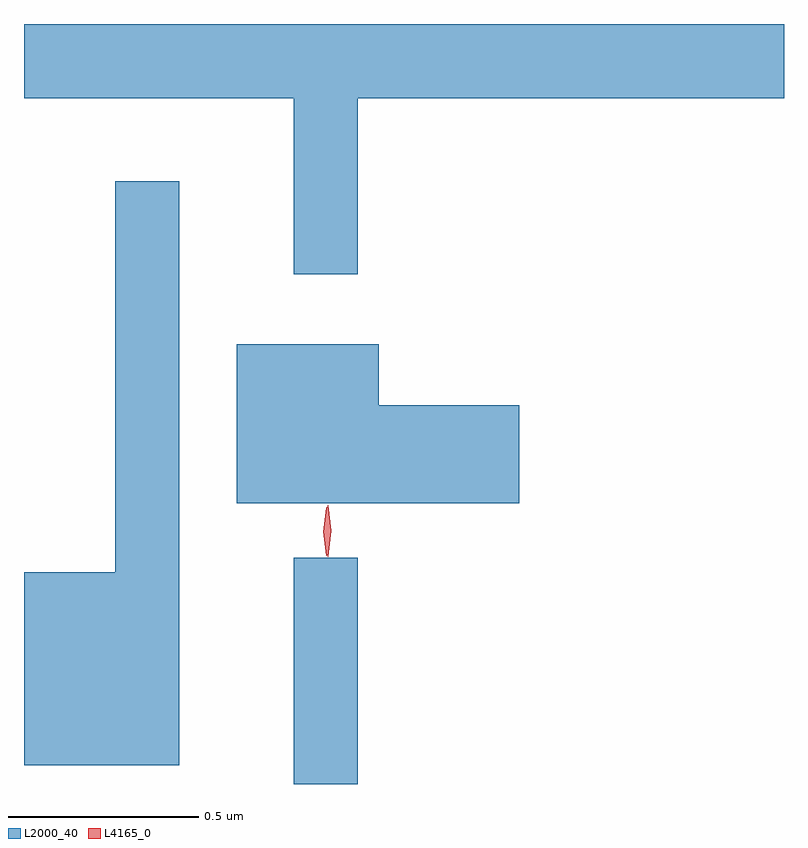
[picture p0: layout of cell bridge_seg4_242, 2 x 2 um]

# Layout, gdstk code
import gdstk
lib = gdstk.Library(unit=1e-6, precision=1e-09)
def R(c, l, rs):  # rectangles x0, y0, x1, y1
    for r in rs: c.add(gdstk.rectangle(r[:2], r[2:], *l))
def P(c, l, *ps):  # polygons
    for p in ps: c.add(gdstk.Polygon(p, *l))
L2000_40 = (2000, 40)
L4165_0 = (4165, 0)

bridge_seg4_242 = lib.new_cell('bridge_seg4_242')
R(bridge_seg4_242, L2000_40, [(591.561,1381.732,591.729,1382.328)])
P(bridge_seg4_242, L2000_40, [(591.729,1383.536),(592.851,1383.536),(592.851,1383.732),(590.851,1383.732),(590.851,1383.536),(591.561,1383.536),(591.561,1383.073),(591.729,1383.073)],
  [(591.259,1383.318),(591.091,1383.318),(591.091,1382.289),(590.851,1382.289),(590.851,1381.781),(591.259,1381.781)],
  [(592.154,1382.729),(591.784,1382.729),(591.784,1382.889),(591.411,1382.889),(591.411,1382.471),(592.154,1382.471)])
P(bridge_seg4_242, L4165_0, [(591.65,1382.33),(591.65,1382.33),(591.64,1382.398),(591.65,1382.465),(591.65,1382.466),(591.651,1382.465),(591.66,1382.398),(591.651,1382.33)],
  [(591.647,1382.333),(591.638,1382.396),(591.647,1382.459),(591.648,1382.46),(591.648,1382.459),(591.658,1382.396),(591.648,1382.333),(591.648,1382.333)])

lib.write_gds('bridge_seg4_242.gds')
